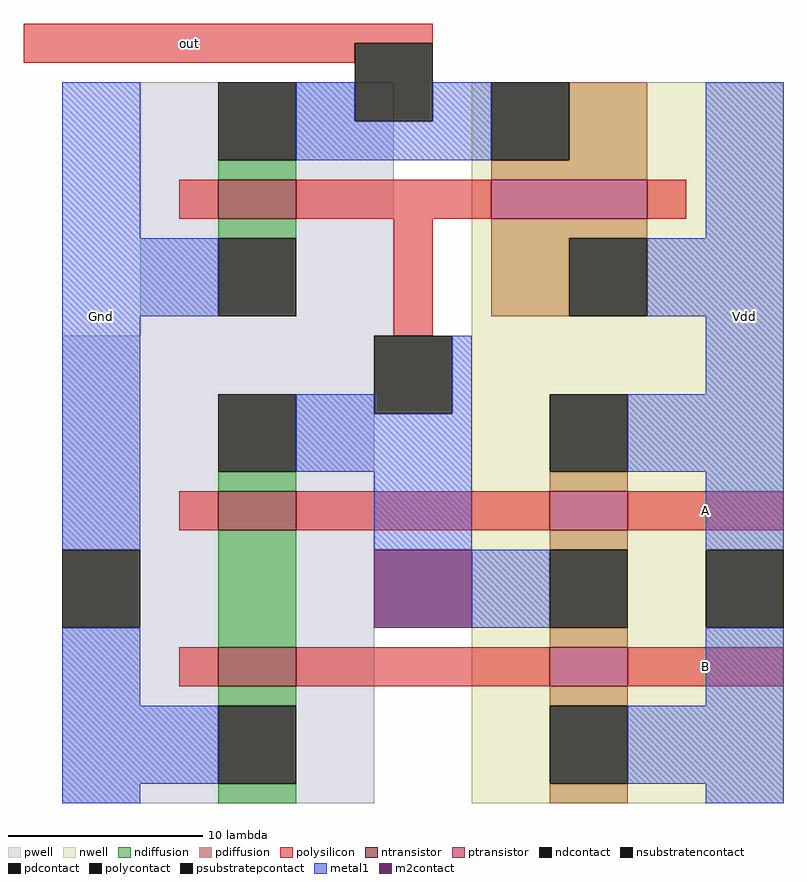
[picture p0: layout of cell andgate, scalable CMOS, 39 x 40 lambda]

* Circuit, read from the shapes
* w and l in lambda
.subckt andgate A B Gnd Vdd out
M1 n1 B Gnd Gnd nfet w=4 l=2
M2 n2 A n1 Gnd nfet w=4 l=2
M3 out n2 Gnd Gnd nfet w=4 l=2
M4 out n2 Vdd Vdd pfet w=8 l=2
M5 n2 B Vdd Vdd pfet w=4 l=2
M6 Vdd A n2 Vdd pfet w=4 l=2
.ends

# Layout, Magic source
magic
tech scmos
<< pwell >>
rect -90 33 -77 46
rect -94 9 -78 33
<< nwell >>
rect -73 9 -57 46
<< polysilicon >>
rect -96 48 -75 49
rect -96 47 -79 48
rect -88 39 -86 41
rect -82 39 -72 41
rect -64 39 -62 41
rect -77 33 -75 39
rect -88 23 -86 25
rect -82 23 -69 25
rect -65 23 -57 25
rect -88 15 -86 17
rect -82 15 -69 17
rect -65 15 -57 17
<< ndiffusion >>
rect -86 41 -82 42
rect -86 38 -82 39
rect -86 25 -82 26
rect -86 17 -82 23
rect -86 14 -82 15
rect -86 9 -82 10
<< pdiffusion >>
rect -68 42 -64 46
rect -72 41 -64 42
rect -72 38 -64 39
rect -72 34 -68 38
rect -69 25 -65 26
rect -69 22 -65 23
rect -69 17 -65 18
rect -69 14 -65 15
rect -69 9 -65 10
<< metal1 >>
rect -94 38 -90 46
rect -82 44 -79 46
rect -75 44 -72 46
rect -82 42 -72 44
rect -61 38 -57 46
rect -94 34 -86 38
rect -64 34 -57 38
rect -94 22 -90 34
rect -82 29 -78 30
rect -74 29 -73 33
rect -61 30 -57 34
rect -82 26 -73 29
rect -65 26 -57 30
rect -78 22 -73 26
rect -61 22 -57 26
rect -73 18 -69 22
rect -94 14 -90 18
rect -61 14 -57 18
rect -94 10 -86 14
rect -65 10 -57 14
rect -94 9 -90 10
rect -61 9 -57 10
<< ntransistor >>
rect -86 39 -82 41
rect -86 23 -82 25
rect -86 15 -82 17
<< ptransistor >>
rect -72 39 -64 41
rect -69 23 -65 25
rect -69 15 -65 17
<< polycontact >>
rect -79 44 -75 48
rect -78 29 -74 33
<< ndcontact >>
rect -86 42 -82 46
rect -86 34 -82 38
rect -86 26 -82 30
rect -86 10 -82 14
<< pdcontact >>
rect -72 42 -68 46
rect -68 34 -64 38
rect -69 26 -65 30
rect -69 18 -65 22
rect -69 10 -65 14
<< m2contact >>
rect -78 18 -73 22
<< psubstratepcontact >>
rect -94 18 -90 22
<< nsubstratencontact >>
rect -61 18 -57 22
<< labels >>
rlabel polysilicon -96 47 -79 49 5 out
rlabel metal1 -94 22 -90 46 3 Gnd
rlabel metal1 -61 22 -57 46 7 Vdd
rlabel polysilicon -65 23 -57 25 7 A
rlabel polysilicon -65 15 -57 17 7 B
<< end >>
